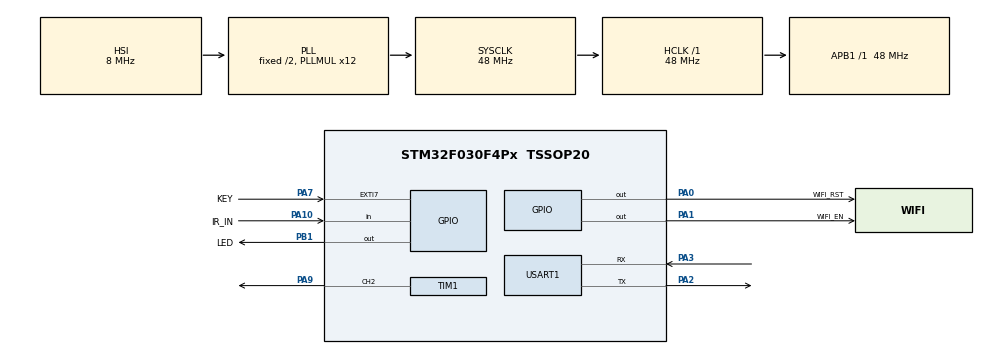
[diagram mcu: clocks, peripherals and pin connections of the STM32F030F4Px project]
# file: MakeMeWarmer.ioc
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Mcu.Family=STM32F0
Mcu.Name=STM32F030F4Px
Mcu.Package=TSSOP20
NVIC.EXTI4_15_IRQn=true\:1\:0\:true\:false\:true\:true
NVIC.TIM17_IRQn=true\:0\:0\:false\:false\:true\:false
NVIC.TimeBase=TIM17_IRQn
NVIC.TimeBaseIP=TIM17
PA0.GPIO_Label=WIFI_RST
PA0.Signal=GPIO_Output
PA1.GPIO_Label=WIFI_EN
PA1.Signal=GPIO_Output
PA10.GPIO_Label=IR_IN
PA10.Signal=GPIO_Input
PA13.Mode=Serial_Wire
PA13.Signal=SYS_SWDIO
PA14.Mode=Serial_Wire
PA14.Signal=SYS_SWCLK
PA2.Mode=Asynchronous
PA2.Signal=USART1_TX
PA3.Mode=Asynchronous
PA3.Signal=USART1_RX
PA7.GPIO_Label=KEY
PA7.Signal=GPXTI7
PA9.Signal=S_TIM1_CH2
PB1.GPIO_Label=LED
PB1.Signal=GPIO_Output
PF0-OSC_IN.Mode=HSE-External-Oscillator
PF0-OSC_IN.Signal=RCC_OSC_IN
PF1-OSC_OUT.Mode=HSE-External-Oscillator
PF1-OSC_OUT.Signal=RCC_OSC_OUT
ProjectManager.HeapSize=0x200
ProjectManager.StackSize=0x400
ProjectManager.TargetToolchain=SW4STM32
RCC.AHBFreq_Value=48000000
RCC.APB1Freq_Value=48000000
RCC.APB1TimFreq_Value=48000000
RCC.HCLKFreq_Value=48000000
RCC.PLLMUL=RCC_PLL_MUL12
RCC.RTCClockSelection=RCC_RTCCLKSOURCE_HSE_DIV32
RCC.SYSCLKFreq_VALUE=48000000
RCC.SYSCLKSource=RCC_SYSCLKSOURCE_PLLCLK
RTC.AsynchPrediv=124
RTC.Date=16
RTC.Format=RTC_FORMAT_BIN
RTC.Hours=16
RTC.Minutes=45
RTC.Month=RTC_MONTH_DECEMBER
RTC.Seconds=45
RTC.SynchPrediv=1999
RTC.WeekDay=RTC_WEEKDAY_SUNDAY
SH.S_TIM1_CH2.0=TIM1_CH2,PWM Generation2 CH2
TIM1.Channel-PWM\ Generation2\ CH2=TIM_CHANNEL_2
TIM1.Period=1262
TIM1.Prescaler=0
TIM1.Pulse-PWM\ Generation2\ CH2=631
USART1.VirtualMode-Asynchronous=VM_ASYNC
VP_RTC_VS_RTC_Activate.Mode=RTC_Enabled
VP_RTC_VS_RTC_Calendar.Mode=RTC_Calendar
VP_SYS_VS_tim17.Mode=TIM17
VP_TIM1_VS_ClockSourceINT.Mode=Internal
board=custom

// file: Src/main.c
/* USER CODE BEGIN Header */
/**
  ******************************************************************************
  * @file           : main.c
  * @brief          : Main program body
  ******************************************************************************
  ** This notice applies to any and all portions of this file
  * that are not between comment pairs USER CODE BEGIN and
  * USER CODE END. Other portions of this file, whether
  * inserted by the user or by software development tools
  * are owned by their respective copyright owners.
  *
  * COPYRIGHT(c) 2018 STMicroelectronics
  *
  * Redistribution and use in source and binary forms, with or without modification,
  * are permitted provided that the following conditions are met:
  *   1. Redistributions of source code must retain the above copyright notice,
  *      this list of conditions and the following disclaimer.
  *   2. Redistributions in binary form must reproduce the above copyright notice,
  *      this list of conditions and the following disclaimer in the documentation
  *      and/or other materials provided with the distribution.
  *   3. Neither the name of STMicroelectronics nor the names of its contributors
  *      may be used to endorse or promote products derived from this software
  *      without specific prior written permission.
  *
  * THIS SOFTWARE IS PROVIDED BY THE COPYRIGHT HOLDERS AND CONTRIBUTORS "AS IS"
  * AND ANY EXPRESS OR IMPLIED WARRANTIES, INCLUDING, BUT NOT LIMITED TO, THE
  * IMPLIED WARRANTIES OF MERCHANTABILITY AND FITNESS FOR A PARTICULAR PURPOSE ARE
  * DISCLAIMED. IN NO EVENT SHALL THE COPYRIGHT HOLDER OR CONTRIBUTORS BE LIABLE
  * FOR ANY DIRECT, INDIRECT, INCIDENTAL, SPECIAL, EXEMPLARY, OR CONSEQUENTIAL
  * DAMAGES (INCLUDING, BUT NOT LIMITED TO, PROCUREMENT OF SUBSTITUTE GOODS OR
  * SERVICES; LOSS OF USE, DATA, OR PROFITS; OR BUSINESS INTERRUPTION) HOWEVER
  * CAUSED AND ON ANY THEORY OF LIABILITY, WHETHER IN CONTRACT, STRICT LIABILITY,
  * OR TORT (INCLUDING NEGLIGENCE OR OTHERWISE) ARISING IN ANY WAY OUT OF THE USE
  * OF THIS SOFTWARE, EVEN IF ADVISED OF THE POSSIBILITY OF SUCH DAMAGE.
  *
  ******************************************************************************
  */
/* USER CODE END Header */

#include "main.h"

/* USER CODE BEGIN Includes */
#include <string.h>
/* USER CODE END Includes */

RTC_HandleTypeDef hrtc;

TIM_HandleTypeDef htim1;

UART_HandleTypeDef huart1;

/* USER CODE BEGIN PV */
uint8_t buttonClicked = 0;
/* USER CODE END PV */

void SystemClock_Config(void);
static void MX_GPIO_Init(void);
static void MX_USART1_UART_Init(void);
static void MX_RTC_Init(void);
static void MX_TIM1_Init(void);

/* USER CODE BEGIN 0 */
void printDateTime(uint8_t y, uint8_t m, uint8_t d, uint8_t H, uint8_t M, uint8_t S)
{
	char buf[256];
	sprintf(buf, "%d-%d-%d,%d-%d-%d\n", y, m, d, H, M, S);
	HAL_UART_Transmit(&huart1, (uint8_t *)buf, strlen(buf), 1000);
}

void HAL_GPIO_EXTI_Callback(uint16_t GPIO_Pin)
{
	HAL_NVIC_DisableIRQ(EXTI4_15_IRQn);

	HAL_Delay(10);
	if (HAL_GPIO_ReadPin(KEY_GPIO_Port, KEY_Pin) == GPIO_PIN_SET)
	{
		buttonClicked = 1;
	}

	HAL_NVIC_EnableIRQ(EXTI4_15_IRQn);
}

#define	zl 	54  //表示数据0的低电平
#define	zh 	54  //表示数据0的高电平
#define ol  54  //表示数据1的低电平
#define oh  162    //表示数据1的高电

unsigned int onSignal[] = {
		440,440,  //L

        //1011 0010 A
        ol,oh,zl,zh,ol,oh,ol,oh,      zl,zh,zl,zh,ol,oh,zl,zh,      //A
        //0100 1101 a
        zl,zh,ol,oh,zl,zh,zl,zh,      ol,oh,ol,oh,zl,zh,ol,oh,      //A'
        //1011 1111 自动风 B
        ol,oh,zl,zh,ol,oh,ol,oh,      ol,oh,ol,oh,ol,oh,ol,oh,      //B
        //0100 0000 b
        zl,zh,ol,oh,zl,zh,zl,zh,      zl,zh,zl,zh,zl,zh,zl,zh,      //B'
        //1011 1100 C
        ol,oh,zl,zh,ol,oh,ol,oh,      ol,oh,ol,oh,zl,zh,zl,zh,      //C
        //0100 0011 c
        zl,zh,ol,oh,zl,zh,zl,zh,      zl,zh,zl,zh,ol,oh,ol,oh,		//C'

        54,522,   //S
        440,440,  //L

        //1011 0010 A
        ol,oh,zl,zh,ol,oh,ol,oh,      zl,zh,zl,zh,ol,oh,zl,zh,      //A
        //0100 1101 a
        zl,zh,ol,oh,zl,zh,zl,zh,      ol,oh,ol,oh,zl,zh,ol,oh,      //A'
        //1011 1111 自动风 B
        ol,oh,zl,zh,ol,oh,ol,oh,      ol,oh,ol,oh,ol,oh,ol,oh,      //B
        //0100 0000 b
        zl,zh,ol,oh,zl,zh,zl,zh,      zl,zh,zl,zh,zl,zh,zl,zh,      //B'
        //1011 1100 C
        ol,oh,zl,zh,ol,oh,ol,oh,      ol,oh,ol,oh,zl,zh,zl,zh,      //C
        //0100 0011 c
        zl,zh,ol,oh,zl,zh,zl,zh,      zl,zh,zl,zh,ol,oh,ol,oh,		//C'

        54     //end
};

unsigned int offSignal[] = {
		440,440,  //L

        //1011 0010 A
        ol,oh,zl,zh,ol,oh,ol,oh,      zl,zh,zl,zh,ol,oh,zl,zh,      //A
        //0100 1101 a
        zl,zh,ol,oh,zl,zh,zl,zh,      ol,oh,ol,oh,zl,zh,ol,oh,      //A'
        //0111 1011 B
        zl,zh,ol,oh,ol,oh,ol,oh,      ol,oh,zl,zh,ol,oh,ol,oh,      //B
        //1000 0100 b
        ol,oh,zl,zh,zl,zh,zl,zh,      zl,zh,ol,oh,zl,zh,zl,zh,      //B'
        //1110 0000 C
        ol,oh,ol,oh,ol,oh,zl,zh,      zl,zh,zl,zh,zl,zh,zl,zh,      //C
        //0001 1111 c
        zl,zh,zl,zh,zl,zh,ol,oh,      ol,oh,ol,oh,ol,oh,ol,oh,		//C'

        54,522,   //S
        440,440,  //L

        //1011 0010 A
        ol,oh,zl,zh,ol,oh,ol,oh,      zl,zh,zl,zh,ol,oh,zl,zh,      //A
        //0100 1101 a
        zl,zh,ol,oh,zl,zh,zl,zh,      ol,oh,ol,oh,zl,zh,ol,oh,      //A'
        //0111 1011 B
        zl,zh,ol,oh,ol,oh,ol,oh,      ol,oh,zl,zh,ol,oh,ol,oh,      //B
        //1000 0100 b
        ol,oh,zl,zh,zl,zh,zl,zh,      zl,zh,ol,oh,zl,zh,zl,zh,      //B'
        //1110 0000 C
        ol,oh,ol,oh,ol,oh,zl,zh,      zl,zh,zl,zh,zl,zh,zl,zh,      //C
        //0001 1111 c
        zl,zh,zl,zh,zl,zh,ol,oh,      ol,oh,ol,oh,ol,oh,ol,oh,		//C'

        54     //end
};

__IO int systickTicks = 0;

void delay10us(int n)
{
	systickTicks = 0;
	while(systickTicks < n);
}

void control(int On)
{
	if (On == 1)
	{
		uint8_t i=0;
		for(;i<199;i++)
		{
			if (i%2 == 0)
			{
				HAL_TIM_PWM_Start(&htim1, TIM_CHANNEL_2);
			}
			else
			{
				HAL_TIM_PWM_Stop(&htim1, TIM_CHANNEL_2);
			}
			delay10us(onSignal[i]);
		}
	}
	else if(On == 0)
	{
		uint8_t i=0;
		for(;i<199;i++)
		{
			if (i%2 == 0)
			{
				HAL_TIM_PWM_Start(&htim1, TIM_CHANNEL_2);
			}
			else
			{
				HAL_TIM_PWM_Stop(&htim1, TIM_CHANNEL_2);
			}
			delay10us(offSignal[i]);
		}
	}

	HAL_TIM_PWM_Stop(&htim1, TIM_CHANNEL_2);
}

/* USER CODE END 0 */

int main(void)
{

  /* MCU Configuration--------------------------------------------------------*/

  /* Reset of all peripherals, Initializes the Flash interface and the Systick. */
  HAL_Init();

  /* Configure the system clock */
  SystemClock_Config();

  /* Initialize all configured peripherals */
  MX_GPIO_Init();
  MX_USART1_UART_Init();
  MX_RTC_Init();
  MX_TIM1_Init();
  /* USER CODE BEGIN 2 */

  LED_GPIO_Port->BSRR = (uint32_t)LED_Pin<<16;

  HAL_SYSTICK_Config(HAL_RCC_GetHCLKFreq()/100000U);

  /* USER CODE END 2 */

  /* Infinite loop */
  /* USER CODE BEGIN WHILE */
  uint8_t OnOrOff = 0; // 0-off 1-on
  RTC_DateTypeDef sDate;
  RTC_TimeTypeDef sTime;
  while (1)
  {
    /* USER CODE END WHILE */

    /* USER CODE BEGIN 3 */
	  if(buttonClicked)
	  {
		  buttonClicked = 0;

		  if (OnOrOff)
		  {
			  LED_GPIO_Port->BSRR = (uint32_t)LED_Pin<<16;
			  control(0);
			  OnOrOff = 0;
		  }
		  else
		  {
			  LED_GPIO_Port->BSRR = LED_Pin;
			  control(1);
			  OnOrOff = 1;
		  }
	  }

	  HAL_RTC_GetTime(&hrtc, &sTime, RTC_FORMAT_BIN);
	  HAL_RTC_GetDate(&hrtc, &sDate, RTC_FORMAT_BIN);

	  printDateTime(sDate.Year, sDate.Month, sDate.Date, sTime.Hours, sTime.Minutes, sTime.Seconds);

	  if (sTime.Hours == 6 && OnOrOff == 0)
	  {
		  LED_GPIO_Port->BSRR = LED_Pin;
		  control(1);
		  OnOrOff = 1;
	  }
	  else if(sTime.Hours == 7  && OnOrOff == 1)
	  {
		  LED_GPIO_Port->BSRR = (uint32_t)LED_Pin<<16;
		  control(0);
		  OnOrOff = 0;
	  }

	  HAL_Delay(1000);
  }
  /* USER CODE END 3 */
}

void SystemClock_Config(void)
{
  RCC_OscInitTypeDef RCC_OscInitStruct = {0};
  RCC_ClkInitTypeDef RCC_ClkInitStruct = {0};
  RCC_PeriphCLKInitTypeDef PeriphClkInit = {0};

  /**Initializes the CPU, AHB and APB busses clocks
  */
  RCC_OscInitStruct.OscillatorType = RCC_OSCILLATORTYPE_HSI|RCC_OSCILLATORTYPE_HSE;
  RCC_OscInitStruct.HSEState = RCC_HSE_ON;
  RCC_OscInitStruct.HSIState = RCC_HSI_ON;
  RCC_OscInitStruct.HSICalibrationValue = RCC_HSICALIBRATION_DEFAULT;
  RCC_OscInitStruct.PLL.PLLState = RCC_PLL_ON;
  RCC_OscInitStruct.PLL.PLLSource = RCC_PLLSOURCE_HSI;
  RCC_OscInitStruct.PLL.PLLMUL = RCC_PLL_MUL12;
  RCC_OscInitStruct.PLL.PREDIV = RCC_PREDIV_DIV1;
  if (HAL_RCC_OscConfig(&RCC_OscInitStruct) != HAL_OK)
  {
    Error_Handler();
  }
  /**Initializes the CPU, AHB and APB busses clocks
  */
  RCC_ClkInitStruct.ClockType = RCC_CLOCKTYPE_HCLK|RCC_CLOCKTYPE_SYSCLK
                              |RCC_CLOCKTYPE_PCLK1;
  RCC_ClkInitStruct.SYSCLKSource = RCC_SYSCLKSOURCE_PLLCLK;
  RCC_ClkInitStruct.AHBCLKDivider = RCC_SYSCLK_DIV1;
  RCC_ClkInitStruct.APB1CLKDivider = RCC_HCLK_DIV1;

  if (HAL_RCC_ClockConfig(&RCC_ClkInitStruct, FLASH_LATENCY_1) != HAL_OK)
  {
    Error_Handler();
  }
  PeriphClkInit.PeriphClockSelection = RCC_PERIPHCLK_USART1|RCC_PERIPHCLK_RTC;
  PeriphClkInit.Usart1ClockSelection = RCC_USART1CLKSOURCE_PCLK1;
  PeriphClkInit.RTCClockSelection = RCC_RTCCLKSOURCE_HSE_DIV32;
  if (HAL_RCCEx_PeriphCLKConfig(&PeriphClkInit) != HAL_OK)
  {
    Error_Handler();
  }
}

static void MX_RTC_Init(void)
{

  RTC_TimeTypeDef sTime = {0};
  RTC_DateTypeDef sDate = {0};

  /**Initialize RTC Only
  */
  hrtc.Instance = RTC;
  hrtc.Init.HourFormat = RTC_HOURFORMAT_24;
  hrtc.Init.AsynchPrediv = 124;
  hrtc.Init.SynchPrediv = 1999;
  hrtc.Init.OutPut = RTC_OUTPUT_DISABLE;
  hrtc.Init.OutPutPolarity = RTC_OUTPUT_POLARITY_HIGH;
  hrtc.Init.OutPutType = RTC_OUTPUT_TYPE_OPENDRAIN;
  if (HAL_RTC_Init(&hrtc) != HAL_OK)
  {
    Error_Handler();
  }

  /**Initialize RTC and set the Time and Date
  */
  sTime.Hours = 17;
  sTime.Minutes = 32;
  sTime.Seconds = 00;
  sTime.DayLightSaving = RTC_DAYLIGHTSAVING_NONE;
  sTime.StoreOperation = RTC_STOREOPERATION_RESET;
  if (HAL_RTC_SetTime(&hrtc, &sTime, RTC_FORMAT_BIN) != HAL_OK)
  {
    Error_Handler();
  }
  sDate.WeekDay = RTC_WEEKDAY_SUNDAY;
  sDate.Month = RTC_MONTH_DECEMBER;
  sDate.Date = 16;
  sDate.Year = 18;

  if (HAL_RTC_SetDate(&hrtc, &sDate, RTC_FORMAT_BIN) != HAL_OK)
  {
    Error_Handler();
  }

}

static void MX_TIM1_Init(void)
{

  TIM_ClockConfigTypeDef sClockSourceConfig = {0};
  TIM_MasterConfigTypeDef sMasterConfig = {0};
  TIM_OC_InitTypeDef sConfigOC = {0};
  TIM_BreakDeadTimeConfigTypeDef sBreakDeadTimeConfig = {0};

  htim1.Instance = TIM1;
  htim1.Init.Prescaler = 0;
  htim1.Init.CounterMode = TIM_COUNTERMODE_UP;
  htim1.Init.Period = 1262;
  htim1.Init.ClockDivision = TIM_CLOCKDIVISION_DIV1;
  htim1.Init.RepetitionCounter = 0;
  htim1.Init.AutoReloadPreload = TIM_AUTORELOAD_PRELOAD_DISABLE;
  if (HAL_TIM_Base_Init(&htim1) != HAL_OK)
  {
    Error_Handler();
  }
  sClockSourceConfig.ClockSource = TIM_CLOCKSOURCE_INTERNAL;
  if (HAL_TIM_ConfigClockSource(&htim1, &sClockSourceConfig) != HAL_OK)
  {
    Error_Handler();
  }
  if (HAL_TIM_PWM_Init(&htim1) != HAL_OK)
  {
    Error_Handler();
  }
  sMasterConfig.MasterOutputTrigger = TIM_TRGO_RESET;
  sMasterConfig.MasterSlaveMode = TIM_MASTERSLAVEMODE_DISABLE;
  if (HAL_TIMEx_MasterConfigSynchronization(&htim1, &sMasterConfig) != HAL_OK)
  {
    Error_Handler();
  }
  sConfigOC.OCMode = TIM_OCMODE_PWM1;
  sConfigOC.Pulse = 631;
  sConfigOC.OCPolarity = TIM_OCPOLARITY_HIGH;
  sConfigOC.OCNPolarity = TIM_OCNPOLARITY_HIGH;
  sConfigOC.OCFastMode = TIM_OCFAST_DISABLE;
  sConfigOC.OCIdleState = TIM_OCIDLESTATE_RESET;
  sConfigOC.OCNIdleState = TIM_OCNIDLESTATE_RESET;
  if (HAL_TIM_PWM_ConfigChannel(&htim1, &sConfigOC, TIM_CHANNEL_2) != HAL_OK)
  {
    Error_Handler();
  }
  sBreakDeadTimeConfig.OffStateRunMode = TIM_OSSR_DISABLE;
  sBreakDeadTimeConfig.OffStateIDLEMode = TIM_OSSI_DISABLE;
  sBreakDeadTimeConfig.LockLevel = TIM_LOCKLEVEL_OFF;
  sBreakDeadTimeConfig.DeadTime = 0;
  sBreakDeadTimeConfig.BreakState = TIM_BREAK_DISABLE;
  sBreakDeadTimeConfig.BreakPolarity = TIM_BREAKPOLARITY_HIGH;
  sBreakDeadTimeConfig.AutomaticOutput = TIM_AUTOMATICOUTPUT_DISABLE;
  if (HAL_TIMEx_ConfigBreakDeadTime(&htim1, &sBreakDeadTimeConfig) != HAL_OK)
  {
    Error_Handler();
  }
  HAL_TIM_MspPostInit(&htim1);

}

static void MX_USART1_UART_Init(void)
{

  huart1.Instance = USART1;
  huart1.Init.BaudRate = 38400;
  huart1.Init.WordLength = UART_WORDLENGTH_8B;
  huart1.Init.StopBits = UART_STOPBITS_1;
  huart1.Init.Parity = UART_PARITY_NONE;
  huart1.Init.Mode = UART_MODE_TX_RX;
  huart1.Init.HwFlowCtl = UART_HWCONTROL_NONE;
  huart1.Init.OverSampling = UART_OVERSAMPLING_16;
  huart1.Init.OneBitSampling = UART_ONE_BIT_SAMPLE_DISABLE;
  huart1.AdvancedInit.AdvFeatureInit = UART_ADVFEATURE_NO_INIT;
  if (HAL_UART_Init(&huart1) != HAL_OK)
  {
    Error_Handler();
  }

}

static void MX_GPIO_Init(void)
{
  GPIO_InitTypeDef GPIO_InitStruct = {0};

  /* GPIO Ports Clock Enable */
  __HAL_RCC_GPIOF_CLK_ENABLE();
  __HAL_RCC_GPIOA_CLK_ENABLE();
  __HAL_RCC_GPIOB_CLK_ENABLE();

  /*Configure GPIO pin Output Level */
  HAL_GPIO_WritePin(GPIOA, WIFI_RST_Pin|WIFI_EN_Pin, GPIO_PIN_RESET);

  /*Configure GPIO pin Output Level */
  HAL_GPIO_WritePin(LED_GPIO_Port, LED_Pin, GPIO_PIN_RESET);

  /*Configure GPIO pins : WIFI_RST_Pin WIFI_EN_Pin */
  GPIO_InitStruct.Pin = WIFI_RST_Pin|WIFI_EN_Pin;
  GPIO_InitStruct.Mode = GPIO_MODE_OUTPUT_PP;
  GPIO_InitStruct.Pull = GPIO_NOPULL;
  GPIO_InitStruct.Speed = GPIO_SPEED_FREQ_LOW;
  HAL_GPIO_Init(GPIOA, &GPIO_InitStruct);

  /*Configure GPIO pin : KEY_Pin */
  GPIO_InitStruct.Pin = KEY_Pin;
  GPIO_InitStruct.Mode = GPIO_MODE_IT_RISING;
  GPIO_InitStruct.Pull = GPIO_NOPULL;
  HAL_GPIO_Init(KEY_GPIO_Port, &GPIO_InitStruct);

  /*Configure GPIO pin : LED_Pin */
  GPIO_InitStruct.Pin = LED_Pin;
  GPIO_InitStruct.Mode = GPIO_MODE_OUTPUT_PP;
  GPIO_InitStruct.Pull = GPIO_NOPULL;
  GPIO_InitStruct.Speed = GPIO_SPEED_FREQ_LOW;
  HAL_GPIO_Init(LED_GPIO_Port, &GPIO_InitStruct);

  /*Configure GPIO pin : IR_IN_Pin */
  GPIO_InitStruct.Pin = IR_IN_Pin;
  GPIO_InitStruct.Mode = GPIO_MODE_INPUT;
  GPIO_InitStruct.Pull = GPIO_NOPULL;
  HAL_GPIO_Init(IR_IN_GPIO_Port, &GPIO_InitStruct);

  /* EXTI interrupt init*/
  HAL_NVIC_SetPriority(EXTI4_15_IRQn, 1, 0);
  HAL_NVIC_EnableIRQ(EXTI4_15_IRQn);

}

void HAL_TIM_PeriodElapsedCallback(TIM_HandleTypeDef *htim)
{
  if (htim->Instance == TIM17) {
    HAL_IncTick();
  }
}

void Error_Handler(void)
{
}

/************************ (C) COPYRIGHT STMicroelectronics *****END OF FILE****/
